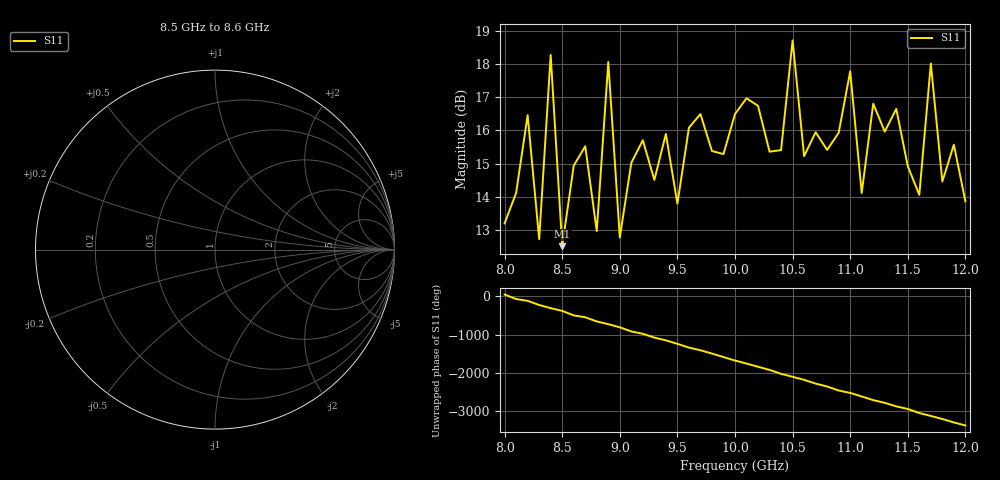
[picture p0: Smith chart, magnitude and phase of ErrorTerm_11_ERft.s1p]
!  1-Port S-parameters saved by WinCal
! VAR NAME=2-Port SOLT labuser 2
! VAR Error Term Name=ERft phys rcv port 1 phys src port 1
# Hz S RI R 50
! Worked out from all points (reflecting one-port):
!   41 points, 8 GHz to 12 GHz, reference 50 ohm
!   lowest |S11| = 12.5 dB at 8.5 GHz (marker M1)
!   phase of S11 starts at 42 deg and turns -3409 deg over the sweep
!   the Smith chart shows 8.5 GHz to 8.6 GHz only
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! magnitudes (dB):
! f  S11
! 8 GHz  13.2
! 8.2 GHz  16.5
! 8.3 GHz  12.7
! 8.4 GHz  18.3
! 8.5 GHz  12.5
! 8.7 GHz  15.5
! 8.8 GHz  13.0
! 8.9 GHz  18.1
! 9 GHz  12.8
! 9.2 GHz  15.7
! 9.3 GHz  14.5
! 9.4 GHz  15.9
! 9.5 GHz  13.8
! 9.6 GHz  16.1
! 10 GHz  16.5
! 10.4 GHz  15.4
! 10.5 GHz  18.7
! 10.6 GHz  15.2
! 10.9 GHz  15.9
! 11 GHz  17.8
! 11.1 GHz  14.1
! 11.2 GHz  16.8
! 11.5 GHz  14.9
! 11.6 GHz  14.1
! 11.7 GHz  18.0
! 11.8 GHz  14.5
! 11.9 GHz  15.6
! 12 GHz  13.9
